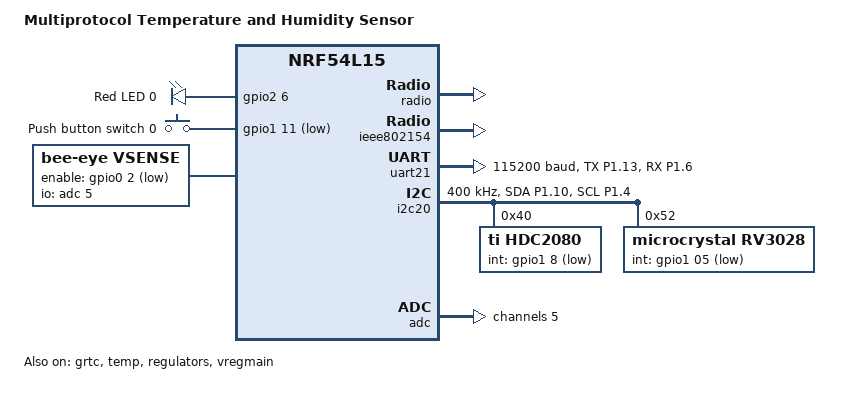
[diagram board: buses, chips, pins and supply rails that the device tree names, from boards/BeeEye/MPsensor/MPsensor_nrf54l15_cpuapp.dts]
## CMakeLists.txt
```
cmake_minimum_required(VERSION 4.2)


set(BEE_MANUFACTURER_NAME "BeeEye")
set(BEE_MODEL_ID "MPsensor")


# Generate compile_commands.json for C/C++ Extension
set(CMAKE_EXPORT_COMPILE_COMMANDS ON)

find_package(Zephyr REQUIRED HINTS $ENV{ZEPHYR_BASE})

project(microsensor)

# Version object library (no linking overhead)
add_library(version_obj OBJECT src/version.c)
target_link_libraries(version_obj PRIVATE zephyr_interface)

target_compile_definitions(version_obj PRIVATE
    BEE_MANUFACTURER_NAME="${BEE_MANUFACTURER_NAME}"
    BEE_MODEL_ID="${BEE_MODEL_ID}"
)

file(GLOB app_sources CONFIGURE_DEPENDS
    src/main.c        
    src/ble_server.c  
    src/rtc.c                
    src/deep_sleep.c  
    src/rtc_rv3028_addons.c  
    src/vsense.c    
    src/sensor_hdc2080.c     
    src/zigbee_sensor.c
)

target_sources(app PRIVATE ${app_sources})
target_link_libraries(app PRIVATE version_obj)

# Strict compile checks
target_compile_options(app PRIVATE
    -Wall
    -Wextra

    # 1) No implicit function declarations
    -Werror=implicit-function-declaration

    # 2) Non-void function must return on all paths
    -Werror=return-type
)
```

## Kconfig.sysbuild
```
source "share/sysbuild/Kconfig"

config BEE_BOOT_SKIP_SIGNATURE_VALIDATION
	bool "MCUboot: disables signature validation on boot"
	depends on BOOTLOADER_MCUBOOT
	help
	  When enabled, MCUboot is built with CONFIG_BOOT_VALIDATE_SLOT0=n.
	  This disables image signature validation on boot, reducting power drain
	  during boot. This reduces power drain when device is wakes from System OFF
	  mode, as image validation would otherwise happen on each and every wake.
```

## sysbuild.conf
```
SB_CONFIG_BOOTLOADER_MCUBOOT=y
SB_CONFIG_BOOT_SIGNATURE_TYPE_ECDSA_P256=y
SB_CONFIG_BOOT_SIGNATURE_KEY_FILE="\${APPLICATION_CONFIG_DIR}/key.pem"

# Power saving by skipping signature validation on boot (still validated on update)
SB_CONFIG_BEE_BOOT_SKIP_SIGNATURE_VALIDATION=y
```

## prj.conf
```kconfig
# Peripherals
CONFIG_GPIO=y
CONFIG_SENSOR=y
CONFIG_RTC=y
CONFIG_RTC_ALARM=y
CONFIG_I2C=y
CONFIG_ADC=y
CONFIG_ADC_NRFX_SAADC=y
CONFIG_SERIAL=y
CONFIG_UART_INTERRUPT_DRIVEN=y
CONFIG_SPI=n
CONFIG_PWM=n

# Bluetooth
CONFIG_BT=y
CONFIG_BT_HCI=y
CONFIG_BT_EXT_ADV=y
CONFIG_BT_PERIPHERAL=y
CONFIG_BT_LL_SOFTDEVICE=y

# Sytem options
CONFIG_POWEROFF=y
CONFIG_REBOOT=y
CONFIG_HWINFO=y
CONFIG_PM_DEVICE=y
CONFIG_TICKLESS_KERNEL=y
CONFIG_MINIMAL_LIBC=y
CONFIG_MINIMAL_LIBC_TIME=y
CONFIG_SYSTEM_WORKQUEUE_STACK_SIZE=2304
CONFIG_MAIN_STACK_SIZE=2176
CONFIG_HEAP_MEM_POOL_SIZE=2048
CONFIG_MAIN_THREAD_PRIORITY=7

# Logging
CONFIG_CONSOLE=y
CONFIG_UART_CONSOLE=y
CONFIG_PRINTK=y
CONFIG_LOG=y

## Configure MCU MGR for FOTA over BLE
CONFIG_BOOTLOADER_MCUBOOT=y
CONFIG_MCUMGR=y
CONFIG_MCUMGR_TRANSPORT_BT=y
CONFIG_BT_GATT_DYNAMIC_DB=y
CONFIG_MCUMGR_TRANSPORT_BT_DYNAMIC_SVC_REGISTRATION=y
CONFIG_MCUMGR_GRP_IMG=y
CONFIG_MCUMGR_GRP_OS=y
CONFIG_IMG_MANAGER=y
CONFIG_FLASH=y
CONFIG_FLASH_MAP=y
CONFIG_STREAM_FLASH=y
CONFIG_NET_BUF=y
CONFIG_ZCBOR=y
CONFIG_CRC=y
CONFIG_BT_BUF_ACL_RX_SIZE=251
CONFIG_BT_BUF_ACL_TX_SIZE=251
CONFIG_BT_L2CAP_TX_MTU=247
CONFIG_BT_CTLR_DATA_LENGTH_MAX=251

## Zigbee R23 add-on
CONFIG_ZIGBEE_ADD_ON=y
CONFIG_ZIGBEE_APP_UTILS=y
CONFIG_ZIGBEE_ROLE_END_DEVICE=y
CONFIG_ZIGBEE_CHANNEL_SELECTION_MODE_MULTI=y
CONFIG_ZIGBEE_CHANNEL_MASK=0x00000800

## Persistent storage (Zigbee NVRAM)
CONFIG_SETTINGS=y
CONFIG_FLASH=y
CONFIG_FLASH_PAGE_LAYOUT=y
CONFIG_FLASH_MAP=y
CONFIG_ZMS=y
CONFIG_BT_SETTINGS=n

## Disable IPv6 (or everything crashes)
CONFIG_NET_IPV6=n
CONFIG_NET_IP_ADDR_CHECK=n
CONFIG_NET_UDP=n
```

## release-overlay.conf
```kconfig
# Kconfig overlay for release build 
# Turns off logging
CONFIG_SERIAL=n
CONFIG_UART_ASYNC_API=n
CONFIG_UART_INTERRUPT_DRIVEN=n
CONFIG_CONSOLE=n
CONFIG_UART_CONSOLE=n
CONFIG_LOG=n
```

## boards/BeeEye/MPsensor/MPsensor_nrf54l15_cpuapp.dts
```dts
/dts-v1/;
#include <nordic/nrf54l15_cpuapp.dtsi>
#include "MPsensor-pinctrl.dtsi"
#include "partition.dtsi"

/ {
	model = "Multiprotocol Temperature and Humidity Sensor";
	compatible = "bee-eye,MPsensor-cpuapp";

	chosen {
		zephyr,console = &uart21;
		zephyr,code-partition = &slot0_partition;
		zephyr,sram = &cpuapp_sram;
		zephyr,flash = &cpuapp_rram;
		zephyr,flash-controller = &rram_controller;
	};

	leds {
		compatible = "gpio-leds";

		led0: led_0 {
			gpios = <&gpio2 6 GPIO_ACTIVE_HIGH>;
			label = "Red LED 0";
		};
	};

	buttons {
		compatible = "gpio-keys";

		button0: button_0 {
			gpios = <&gpio1 11 GPIO_ACTIVE_LOW>; // External pull-up
			label = "Push button switch 0";
			zephyr,code = <INPUT_KEY_0>;
		};
	};

	vsense: vsense {
        compatible = "bee-eye,vsense";
        enable-gpios = <&gpio0 2 GPIO_ACTIVE_LOW>;
        io-channels = <&adc 5>; /* example channel index */
        label = "VSENSE";
    };
};

&grtc {
	owned-channels = <0 1 2 3 4 5 6 7 8 9 10 11>;
	/* Channels 7-11 reserved for Zero Latency IRQs, 3-4 for FLPR */
	child-owned-channels = <3 4 7 8 9 10 11>;
	status = "okay";
};

&clock {
	status = "okay";
};

&radio {
	status = "okay";
};

&ieee802154 {
	status = "okay";
};

&temp {
	status = "okay";
};

// &gpregret1 {
// 	status = "okay";

// 	boot_mode0: boot_mode@0 {
// 		compatible = "zephyr,retention";
// 		status = "okay";
// 		reg = <0x0 0x1>;
// 	};
// };

&uart21 {
	status = "okay";
	pinctrl-0 = <&uart21_default>;
	pinctrl-1 = <&uart21_sleep>;
	pinctrl-names = "default", "sleep";
	current-speed = <115200>;
};

&hfxo {
	load-capacitors = "internal";
	load-capacitance-femtofarad = <14250>;
};

&lfxo {
	load-capacitors = "internal";
	load-capacitance-femtofarad = <7000>;
};

&cpuapp_sram {
	status = "okay";
};

&uicr {
	gpio-as-nreset;
};

&regulators {
	status = "okay";
};

&vregmain {
	status = "okay";
	regulator-initial-mode = <NRF5X_REG_MODE_DCDC>;
};

&gpio0 {
	status = "okay";
};

&gpio1 {
	sense-edge-mask = <(BIT(5) | BIT(11))>;
	status = "okay";
};

&gpio2 {
	status = "okay";
};

&gpiote20 {
	status = "okay";
};

&gpiote30 {
	status = "okay";
};

&pinctrl {
	/* I2C: i2c0 -> i2c20 */
	/omit-if-no-ref/ i2c20_default: i2c20_default {
		group1 {
			psels = <NRF_PSEL(TWIM_SDA, 1, 10)>, <NRF_PSEL(TWIM_SCL, 1, 4)>;
		};
	};

	/omit-if-no-ref/ i2c20_sleep: i2c20_sleep {
		group1 {
			psels = <NRF_PSEL(TWIM_SDA, 1, 10)>, <NRF_PSEL(TWIM_SCL, 1, 4)>;
			low-power-enable;
		};
	};

	/omit-if-no-ref/ uart21_default: uart21_default {
		group1 {
			psels = <NRF_PSEL(UART_TX, 1, 13)>, <NRF_PSEL(UART_RX, 1, 6)>;
		};
	};

	/omit-if-no-ref/ uart21_sleep: uart21_sleep {
		group1 {
			psels = <NRF_PSEL(UART_TX, 1, 13)>, <NRF_PSEL(UART_RX, 1, 6)>;
			low-power-enable;
		};
	};
};

&i2c20 {
    status = "okay";
	pinctrl-0 = <&i2c20_default>;
    pinctrl-1 = <&i2c20_sleep>;
    pinctrl-names = "default", "sleep";
    clock-frequency = <I2C_BITRATE_FAST>;

    /* HDC2080 temperature & humidity sensor */
    hdc2080: hdc2080@40 {
		status = "okay";
        compatible = "ti,hdc2080";
        reg = <0x40>;
        int-gpios = <&gpio1 8 (GPIO_PULL_UP | GPIO_ACTIVE_LOW)>;
        zephyr,deferred-init;
    };

    /* RV-3028-C7 real-time clock */
    rv3028: rv3028@52 {
		status = "okay";
        compatible = "microcrystal,rv3028";
        reg = <0x52>;
        int-gpios = <&gpio1 05 (GPIO_PULL_UP | GPIO_ACTIVE_LOW)>;
		backup-switch-mode = "disabled";
		zephyr,deferred-init;
    };
};

&adc {
    status = "okay";
	#address-cells = <1>;
    #size-cells = <0>;

    channel@5 {
        reg = <5>;                               /* channel index */
        zephyr,gain = "ADC_GAIN_1";                  /* choose what you need */
        zephyr,reference = "ADC_REF_INTERNAL";            /* 0.6V ref */
        zephyr,acquisition-time = <ADC_ACQ_TIME_DEFAULT>;
        zephyr,input-positive = <NRF_SAADC_AIN5>;
        zephyr,resolution = <14>;                 /* 14-bit recommended */
    };
};
```

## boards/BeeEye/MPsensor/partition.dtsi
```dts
&cpuapp_rram {
	partitions {
		ranges;
		#address-cells = <1>;
		#size-cells = <1>;

		boot_partition: partition@0 {
			compatible = "zephyr,mapped-partition";
			label = "mcuboot";
			reg = <0x0 DT_SIZE_K(64)>;
		};

		slot0_partition: partition@10000 {
			compatible = "zephyr,mapped-partition";
			label = "image-0";
			reg = <0x10000 DT_SIZE_K(664)>;
		};

		slot1_partition: partition@b6000 {
			compatible = "zephyr,mapped-partition";
			label = "image-1";
			reg = <0xb6000 DT_SIZE_K(664)>;
		};

		zboss_nvram: partition@15c000 {
			compatible = "zephyr,mapped-partition";
			label = "zboss-nvram";
			reg = <0x15c000 DT_SIZE_K(32)>;
		};

		zboss_product_config: partition@164000 {
			compatible = "zephyr,mapped-partition";
			label = "zboss-product-config";
			reg = <0x164000 DT_SIZE_K(4)>;
		};

		storage_partition: partition@165000 {
			compatible = "zephyr,mapped-partition";
			label = "storage";
			reg = <0x165000 DT_SIZE_K(36)>;
		};
	};
};
```

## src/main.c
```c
#include "ble_server.h"
#include "rtc.h"
#include "vsense.h"
#include "deep_sleep.h"
#include "sensor_hdc2080.h"
#include "zigbee_sensor.h"

#include <zephyr/kernel.h>
#include <zephyr/logging/log.h>
#include <zephyr/drivers/gpio.h>
#include <zephyr/device.h>
#include <zephyr/devicetree.h>
#include <zephyr/pm/pm.h>
#include <zephyr/sys/reboot.h>
#include <zephyr/drivers/hwinfo.h>
#include <zephyr/dfu/mcuboot.h>
#include <zephyr/settings/settings.h>
#include <zephyr/mgmt/mcumgr/transport/smp_bt.h>

LOG_MODULE_REGISTER(app_main, LOG_LEVEL_DBG);

static const struct gpio_dt_spec pair_button = GPIO_DT_SPEC_GET(DT_NODELABEL(button0), gpios);
static const struct gpio_dt_spec led = GPIO_DT_SPEC_GET(DT_NODELABEL(led0), gpios);

static bool pair_button_is_pressed(void);
static int blink(int count, int duration);
static int megablink(int countA, int countB, int spacing);
static int confirm_image_once(void);
static void blink_and_restart(int ser_num);
static bool get_is_low_power_wake(void);
static int initialize_peripherals(bool fast);
static int configure_button0_as_reset(void);
static int user_menu(void);
static int save_device_mode(void);

int device_mode = 1;

void main(void)
{
    int ret = 0;
    const bool is_lp_wake = get_is_low_power_wake();

    ret = initialize_peripherals(is_lp_wake);
    if (ret) {
        blink_and_restart(3);
        return;
    }

    confirm_image_once();    

    k_msleep(300);
    if(pair_button_is_pressed()) {
        user_menu();
    }
    
    if (device_mode == 0) {
        LOG_INF("Device is in BLE mode");
        bool pairing_mode = !is_lp_wake || pair_button_is_pressed();
        if(btadv(pairing_mode)) {
            blink_and_restart(4);
            return;
        }

        ret = enter_deep_sleep();
        if(ret) {
            blink_and_restart(5);
        }
    } else {
        LOG_INF("Device is in ZigBee mode");
        ret = configure_button0_as_reset();
        if(ret) {
            blink_and_restart(6);
        }
        ret = zigbee_sensor_start();
        if(ret) {
            blink_and_restart(7);
        }
    }

    return;
}

static bool pair_button_is_pressed(void)
{
    int v = gpio_pin_get_dt(&pair_button);
    return v > 0;   /* logical active level */
}

static int blink(int count, int duration) {
    #ifndef NOBLINK
    if (!device_is_ready(led.port)) return -ENODEV;

    gpio_pin_configure_dt(&led, GPIO_OUTPUT_INACTIVE);
    for(int i=0;i<count;++i) {
        gpio_pin_configure_dt(&led, GPIO_OUTPUT_ACTIVE);
        k_msleep(duration);
        gpio_pin_configure_dt(&led, GPIO_OUTPUT_INACTIVE);
        k_msleep(duration);
    }
    #endif
    
    return 0;
}

static int megablink(int countA, int countB, int spacing) {
    #ifndef NOBLINK
    for(int i=0;i<countB;++i) {
        blink(countA, 200);
        k_msleep(spacing);
    }
    #endif
    return 0;
}

static int confirm_image_once(void)
{
    int rc;

    if (boot_is_img_confirmed()) {
        return 0;
    }

    rc = boot_write_img_confirmed();
    if (rc) {
        return rc;
    }

    return 0;
}

static void blink_and_restart(int ser_num) {
    megablink(ser_num, 3, 300);
    k_msleep(5000);
    sys_reboot(SYS_REBOOT_COLD);
    while(1) {
        k_sleep(K_FOREVER);
    }
}

static bool get_is_low_power_wake(void) {
    uint32_t reset_cause = 0;
    int ret = hwinfo_get_reset_cause(&reset_cause);
    if (ret == 0) {
        hwinfo_clear_reset_cause();
    }

    return reset_cause & RESET_LOW_POWER_WAKE;
}

static int initialize_peripherals(bool fast) {
    int ret = 0;

    settings_subsys_init();
    settings_load();

    if (fast) {
        rtc_enable_minimal_init();
    }
    
    ret = rtc_init(!fast);
    if (ret) {
        LOG_ERR("RTC init failed: %d", ret);
    }

    ret = hdc2080_init();
    if (ret) {
        LOG_ERR("HDC2080 init failed: %d", ret);
    }

	if (!gpio_is_ready_dt(&pair_button)) {
		LOG_ERR("button0 GPIO not ready");
		return -ENODEV;
	}

	ret = gpio_pin_configure_dt(&pair_button, GPIO_INPUT);
	if (ret) {
		LOG_ERR("button0 configure failed (%d)", ret);
		return ret;
	}

    if (!fast) {
        LOG_INF("Normal boot");
        blink(1, 200);  // indicator that thing is working

        ret = enable_rtc_pit(SENSOR_TRANSMIT_PERIOD);
        if(ret) {
            LOG_ERR("RTC PIT init failed");
            return ret;
        }        
    } else {
        LOG_INF("Fast boot (wake from System off)");
    }

    if (fast) {
        if (IS_ENABLED(CONFIG_MCUMGR_TRANSPORT_BT_DYNAMIC_SVC_REGISTRATION)) {
            LOG_INF("Disabling GATT SMP (DFU)");
            ret = smp_bt_unregister();
            if (ret) {
                LOG_ERR("smp_bt_unregister() failed: %d", ret);
            }
        }
    }

    return 0;
}

static struct gpio_callback button0_cb;
static void button0_reset_callback(const struct device *dev, struct gpio_callback *cb, uint32_t pins)
{
	ARG_UNUSED(dev);
	ARG_UNUSED(cb);
	ARG_UNUSED(pins);
	sys_reboot(SYS_REBOOT_COLD);
}

static int configure_button0_as_reset(void)
{
	int rc;

	if (!gpio_is_ready_dt(&pair_button)) {
		LOG_ERR("button0 GPIO not ready");
		return -ENODEV;
	}

	rc = gpio_pin_configure_dt(&pair_button, GPIO_INPUT);
	if (rc) {
		LOG_ERR("button0 configure failed (%d)", rc);
		return rc;
	}

	rc = gpio_pin_interrupt_configure_dt(&pair_button, GPIO_INT_EDGE_TO_ACTIVE);
	if (rc) {
		LOG_ERR("button0 interrupt configure failed (%d)", rc);
		return rc;
	}

	gpio_init_callback(&button0_cb, button0_reset_callback, BIT(pair_button.pin));
	gpio_add_callback(pair_button.port, &button0_cb);

    return 0;
}

static int user_menu(void)
{
    LOG_INF("Entering mode select...");
    int64_t start;

    /* --- Initial 5s wait --- */
    start = k_uptime_get();
    while (k_uptime_get() - start < 5000) {
        if (!pair_button_is_pressed()) {
            LOG_INF("Entering mode select aborted");
            return 0;
        }
        k_msleep(50);
    }

    while (pair_button_is_pressed()) {
        blink(1, 50);
        k_msleep(50);
    }

    LOG_INF("Entered mode select.");

    /* --- Menu loop --- */
    start = k_uptime_get();
    while (1) {

        /* Indicate current mode */
        if (device_mode == 0) {
            megablink(1, 1, 100); /* BLE */
        } else {
            megablink(2, 1, 100); /* ZigBee */
        }

        /* Short window to catch button press */
        int64_t poll_start = k_uptime_get();
        while (k_uptime_get() - poll_start < 200) {
            if (pair_button_is_pressed()) {
                device_mode = !device_mode;   /* toggle */
                save_device_mode();
                start = k_uptime_get();       /* reset inactivity timer */

                /* debounce: wait release */
                while (pair_button_is_pressed()) {
                    k_msleep(20);
                }
                break;
            }
            k_msleep(20);
        }

        /* Exit after 5s inactivity */
        if (k_uptime_get() - start >= 5000) {
            blink(1, 1000);
            return 0;
        }
    }
}

static int settings_set(const char *name, size_t len_rd,
                        settings_read_cb read_cb, void *cb_arg)
{
    if (strcmp(name, "mode") == 0) {
        if (len_rd != sizeof(device_mode)) {
            return -EINVAL;
        }
        int rc = read_cb(cb_arg, &device_mode, sizeof(device_mode));
        return (rc >= 0) ? 0 : rc;
    }

    return -ENOENT;
}

SETTINGS_STATIC_HANDLER_DEFINE(device, "device", NULL, settings_set, NULL, NULL);

static int save_device_mode(void)
{
    LOG_INF("Saving device mode = %d", device_mode);
    return settings_save_one("device/mode", &device_mode, sizeof(device_mode));
}
```

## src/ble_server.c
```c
#include "ble_server.h"
#include "sensor_hdc2080.h"
#include "rtc.h"
#include "vsense.h"
#include "protocol.h"

#include <zephyr/kernel.h>
#include <zephyr/logging/log.h>
#include <zephyr/sys/byteorder.h>
#include <zephyr/bluetooth/bluetooth.h>
#include <zephyr/bluetooth/hci.h>
#include <zephyr/bluetooth/hci_vs.h>
#include <zephyr/bluetooth/gatt.h>
#include <zephyr/sys/byteorder.h>
#include <zephyr/sys/crc.h>

LOG_MODULE_REGISTER(app_ble_server, LOG_LEVEL_DBG);

// int adv_set_tx_power(struct bt_le_ext_adv *adv, int8_t dbm)
// {
//     struct net_buf *buf, *rsp = NULL;
//     struct bt_hci_cp_vs_write_tx_power_level *cp;
//     int err;

//     uint16_t handle = bt_le_ext_adv_get_index(adv); // adv handle (per set)

//     buf = bt_hci_cmd_create(BT_HCI_OP_VS_WRITE_TX_POWER_LEVEL, sizeof(*cp));
//     if (!buf) return -ENOBUFS;

//     cp = net_buf_add(buf, sizeof(*cp));
//     cp->handle_type   = BT_HCI_VS_LL_HANDLE_TYPE_ADV;
//     cp->handle        = sys_cpu_to_le16(handle);
//     cp->tx_power_level = dbm;     // e.g. 0, -4, -8 ... (SDC rounds to supported)

//     err = bt_hci_cmd_send_sync(BT_HCI_OP_VS_WRITE_TX_POWER_LEVEL, buf, &rsp);
//     if (rsp) net_buf_unref(rsp);
//     return err;
// }


static K_SEM_DEFINE(adv_done, 0, 1);

static void adv_sent(struct bt_le_ext_adv *adv,
                     struct bt_le_ext_adv_sent_info *info)
{
    ARG_UNUSED(adv);
    ARG_UNUSED(info);
    k_sem_give(&adv_done);
}

static void adv_connected(struct bt_le_ext_adv *adv,
			  struct bt_le_ext_adv_connected_info *info) {
    ARG_UNUSED(adv);
    ARG_UNUSED(info);
    LOG_DBG("BLE connection");
}

static const struct bt_le_ext_adv_cb adv_cb = {
    .sent = adv_sent,
    .connected = adv_connected
};

struct bt_le_adv_param adv_param_normal = {
    .id = BT_ID_DEFAULT,
    .sid = 0,
    .secondary_max_skip = 0,
    .interval_min = BT_GAP_ADV_FAST_INT_MIN_2,
    .interval_max = BT_GAP_ADV_FAST_INT_MAX_2,
    .options = BT_LE_ADV_OPT_USE_IDENTITY | BT_LE_ADV_OPT_EXT_ADV 
};

struct bt_le_adv_param adv_param_pair = {
    .id = BT_ID_DEFAULT,
    .sid = 0,
    .secondary_max_skip = 0,
    .interval_min = BT_GAP_ADV_FAST_INT_MIN_2,
    .interval_max = BT_GAP_ADV_FAST_INT_MAX_2,
    .options = BT_LE_ADV_OPT_USE_IDENTITY | BT_LE_ADV_OPT_EXT_ADV | BT_LE_ADV_OPT_CONN
};

/* Characteristic storage */
static int16_t g_temperature = 0;
static int16_t g_humidity = 0;

/* Read callbacks */
static ssize_t read_temperature(struct bt_conn *conn, const struct bt_gatt_attr *attr, void *buf, uint16_t len, uint16_t offset)
{
    return bt_gatt_attr_read(conn, attr, buf, len, offset, &g_temperature, sizeof(g_temperature));
}

static ssize_t read_humidity(struct bt_conn *conn, const struct bt_gatt_attr *attr, void *buf, uint16_t len, uint16_t offset)
{
    return bt_gatt_attr_read(conn, attr, buf, len, offset, &g_humidity, sizeof(g_humidity));
}

static ssize_t read_timestamp(struct bt_conn *conn, const struct bt_gatt_attr *attr, void *buf, uint16_t len, uint16_t offset)
{
    uint32_t ts = 0;
    get_rtc_unix_time(&ts);
    return bt_gatt_attr_read(conn, attr, buf, len, offset, &ts, sizeof(ts));
}

static ssize_t read_currenttime(struct bt_conn *conn, const struct bt_gatt_attr *attr, void *buf, uint16_t len, uint16_t offset)
{
    struct cts_current_time cts;
    memset(&cts, 0, sizeof(cts));
    get_rtc_cts_time(&cts);
    return bt_gatt_attr_read(conn, attr, buf, len, offset, &cts, sizeof(cts));
}


/* Write callbacks */
static ssize_t write_timestamp(struct bt_conn *conn,
                        const struct bt_gatt_attr *attr,
                        const void *buf, uint16_t len, uint16_t offset, uint8_t flags)
{
    ARG_UNUSED(conn);
    ARG_UNUSED(attr);
    ARG_UNUSED(flags);

    if (offset != 0 || len != sizeof(uint32_t)) {
        return BT_GATT_ERR(BT_ATT_ERR_INVALID_ATTRIBUTE_LEN);
    }

    uint32_t timestamp = sys_get_le32(buf);
    LOG_DBG("Writing timestamp: %u", timestamp);
    set_rtc_unix_time(timestamp);

    return len;
}

static ssize_t write_currenttime(struct bt_conn *conn,
                        const struct bt_gatt_attr *attr,
                        const void *buf, uint16_t len, uint16_t offset, uint8_t flags)
{
    ARG_UNUSED(conn);
    ARG_UNUSED(attr);
    ARG_UNUSED(flags);

    if (offset != 0 || len != sizeof(struct cts_current_time)) {
        return BT_GATT_ERR(BT_ATT_ERR_INVALID_ATTRIBUTE_LEN);
    }

    const struct cts_current_time *time = buf;
    LOG_DBG("Writing current time: %04u-%02u-%02u %02u:%02u:%02u",
            sys_le16_to_cpu(time->year),
            time->month,
            time->day,
            time->hours,
            time->minutes,
            time->seconds);
    set_rtc_cts_time(time);

    return len;
}

/* UUIDs */
#define BT_UUID_MY_SERVICE_VAL 0x12,0x34,0x00,0x01,0x00,0x00,0x10,0x00,0x80,0x00,0x00,0x80,0x5F,0x9B,0x34,0xFB
#define BT_UUID_MY_SERVICE       BT_UUID_DECLARE_128(BT_UUID_MY_SERVICE_VAL)
#define BT_UUID_TEMP_CHAR        BT_UUID_DECLARE_128(0x12,0x34,0x00,0x02,0x00,0x00,0x10,0x00,0x80,0x00,0x00,0x80,0x5F,0x9B,0x34,0xFB)
#define BT_UUID_HUMID_CHAR       BT_UUID_DECLARE_128(0x12,0x34,0x00,0x03,0x00,0x00,0x10,0x00,0x80,0x00,0x00,0x80,0x5F,0x9B,0x34,0xFB)
#define BT_UUID_TIME_CHAR        BT_UUID_DECLARE_128(0x12,0x34,0x00,0x04,0x00,0x00,0x10,0x00,0x80,0x00,0x00,0x80,0x5F,0x9B,0x34,0xFB)

/* Service declaration */
BT_GATT_SERVICE_DEFINE(sensor_service,
    BT_GATT_PRIMARY_SERVICE(BT_UUID_MY_SERVICE),

    BT_GATT_CHARACTERISTIC(BT_UUID_TEMP_CHAR,
                           BT_GATT_CHRC_READ,
                           BT_GATT_PERM_READ,
                           read_temperature, NULL, NULL),

    BT_GATT_CHARACTERISTIC(BT_UUID_HUMID_CHAR,
                           BT_GATT_CHRC_READ,
                           BT_GATT_PERM_READ,
                           read_humidity, NULL, NULL),

    BT_GATT_CHARACTERISTIC(BT_UUID_TIME_CHAR,
                           BT_GATT_CHRC_READ | BT_GATT_CHRC_WRITE,
                           BT_GATT_PERM_READ | BT_GATT_PERM_WRITE,
                           read_timestamp, write_timestamp, NULL)
);

BT_GATT_SERVICE_DEFINE(time_service,
    BT_GATT_PRIMARY_SERVICE(BT_UUID_CTS),

    BT_GATT_CHARACTERISTIC(BT_UUID_CTS_CURRENT_TIME,
                           BT_GATT_CHRC_READ | BT_GATT_CHRC_WRITE,
                           BT_GATT_PERM_READ | BT_GATT_PERM_WRITE,
                           read_currenttime, write_currenttime, NULL)
);

struct __attribute__((packed)) ManufacturerData manufacturerData;

static uint16_t next_transmission_offset = 0;
static char name[32];

int capture_timer_offset(void) {
    uint16_t timer = 0;
    int err = get_rtc_pit_timer_status(&timer);
    if(err) {
        LOG_ERR("Failed to get RTC time status: %d", err);
        return err;
    }
    next_transmission_offset = 60*64 - timer; // TODO: fix hardcoded interval (take current period)

    LOG_INF("capture_timer_offset %"PRIu16" (%"PRId32")", 
        next_transmission_offset, (int32_t)next_transmission_offset * 1000 / 64);
    return 0;
}

int set_adv_data(struct bt_le_ext_adv *adv) {
    int err = 0;
    int16_t temp = 0;
    int16_t hum = 0;
    uint16_t mv = 0;
    // Build manufacturer data
    if(manufacturerData.magic == 0) {
        manufacturerData.magic = BEE_EYE_MAGIC;
        manufacturerData.flags = BEE_EYE_METRIC_TEMPHUM | BEE_EYE_TIMER_64HZ | BEE_EYE_BATTERY_3V3;
        err = hdc2080_get_temp_humidity_x256(&temp, &hum);
        if(err) {
            LOG_ERR("Couldn't read sensor: %d", err);
            return err;
        } else {
            manufacturerData.temp = temp;
            manufacturerData.hum = hum;
        }

        err = vsense_measure_mv(&mv);
        if(err) {
            LOG_ERR("Couldn't get battery voltage %d", err);
        } else {
            manufacturerData.batteryMilliVolt = mv;
        }
    }

    uint16_t timer_status = 0;
    if(get_rtc_pit_timer_status(&timer_status)) {
        LOG_ERR("Failed to get RTC time status");
    }
    manufacturerData.nextTransmission = timer_status + next_transmission_offset;

    manufacturerData.crc = crc8((const char*)&manufacturerData, 
        sizeof(struct ManufacturerData) - sizeof(manufacturerData.crc), 
        0x7, 0x0, false);

    const struct bt_data ad[] = {
        BT_DATA_BYTES(BT_DATA_FLAGS, (BT_LE_AD_GENERAL | BT_LE_AD_NO_BREDR)),
        BT_DATA(BT_DATA_NAME_COMPLETE, name, strlen(name)),
        BT_DATA(BT_DATA_MANUFACTURER_DATA, &manufacturerData, sizeof(manufacturerData)),
        BT_DATA_BYTES(BT_DATA_UUID128_ALL, BT_UUID_MY_SERVICE_VAL)
    };

    err = bt_le_ext_adv_set_data(adv, ad, ARRAY_SIZE(ad), NULL, 0);
    if (err) {
        LOG_ERR("Couldn't set adv data: %d", err);
        return err;
    }
    return 0;
}

static void count_conn_cb(struct bt_conn *conn, void *user_data)
{
    int *count = user_data;

    struct bt_conn_info info;
    if (bt_conn_get_info(conn, &info) != 0) {
        return;
    }

    if (info.type == BT_CONN_TYPE_LE) {
        (*count)++;
    }
}

static int le_conn_count(void)
{
    int count = 0;

    bt_conn_foreach(BT_CONN_TYPE_LE, count_conn_cb, &count);
    return count;
}

int btadv(bool pairing) {
    int err;
    uint8_t addr[6];
    bt_addr_le_t id;
    size_t count = 1;
    struct bt_le_ext_adv *adv = NULL;

    err = bt_enable(NULL);
    if (err) {
        LOG_ERR("Couldn't enable BT: %d", err);
        return err;
    }

    // Get default identity and append last 3 bytes to name
    bt_id_get(&id, &count);
    sys_memcpy_swap(addr, id.a.val, 6);  /* reverse for human-readable */
    snprintk(name, sizeof(name), "BeeEye_%02X%02X%02X", addr[3], addr[4], addr[5]);
    LOG_INF("Announcing as %s", name);

    // Create adv set
    // const struct bt_le_adv_param *adv_param = pairing ? &adv_param_pair : &adv_param_normal;
	err = bt_le_ext_adv_create(&adv_param_pair, &adv_cb, &adv);
	if (err) {
        LOG_ERR("Couldn't create adv: %d", err);
		return err;
	}

    memset(&manufacturerData, 0, sizeof(manufacturerData));
    err = set_adv_data(adv);
    if (err) {
        LOG_ERR("Couldn't set manufacturer data: %d", err);
        return err;
    }

    // Normal adv mode: advertise 4 times
    // "Pairing" adv mode: advertise for 30 seconds
    const struct bt_le_ext_adv_start_param adv_start_normal = BT_LE_EXT_ADV_START_PARAM_INIT(0,4);
    const struct bt_le_ext_adv_start_param adv_start_pairing = BT_LE_EXT_ADV_START_PARAM_INIT(3000,0);
    const struct bt_le_ext_adv_start_param *adv_start = pairing ? &adv_start_pairing : &adv_start_normal;
    LOG_DBG("adv start param = {timeout=%dms, num=%d}", adv_start->timeout * 10, adv_start->num_events);
    err = bt_le_ext_adv_start(adv, adv_start);
    if(err) {
        LOG_ERR("Failed to start announce: %d", err);
        return err;
    }

    if(adv_start->num_events != 0) {
        // adv_sent() releases the semaphore
        // k_sem_take(&adv_done, K_FOREVER);
        while(k_sem_take(&adv_done, K_NO_WAIT) == -EBUSY) {
            err = set_adv_data(adv);
            if (err) {
                LOG_ERR("Couldn't set manufacturer data: %d", err);
                return err;
            }
            k_msleep(100);
        }
    } else if(adv_start->timeout != 0) {
        // k_msleep(adv_start->timeout * 10);
        const uint64_t until = k_uptime_get() + adv_start->timeout * 10;
        while(1) {
            err = set_adv_data(adv);
            if (err) {
                LOG_ERR("Couldn't set manufacturer data: %d", err);
                return err;
            }
            const uint64_t now = k_uptime_get();
            if(now >= until) {
                break;
            }
            k_msleep(100);
        }
    }

    err = bt_le_ext_adv_stop(adv);
    if (err && err != -EALREADY) {
        LOG_WRN("bt_le_ext_adv_stop failed: %d", err);        
    }

    while (pairing && le_conn_count() > 0) {
        LOG_DBG("Waiting for BLE connection(s) to close...");
        k_msleep(200);
    }

    err = bt_disable();
    if(err) {
        LOG_ERR("Failed to disable BT: %d", err);
        return err;
    }

    return 0;
}
```

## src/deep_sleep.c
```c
#include "deep_sleep.h"

#include <zephyr/device.h>
#include <zephyr/devicetree.h>
#include <zephyr/drivers/gpio.h>
#include <zephyr/logging/log.h>
#include <zephyr/logging/log_ctrl.h>
#include <zephyr/sys/poweroff.h>
#include <zephyr/kernel.h>

LOG_MODULE_REGISTER(app_dsleep, LOG_LEVEL_DBG);


static const struct gpio_dt_spec btn = GPIO_DT_SPEC_GET(DT_NODELABEL(button0), gpios);
static const struct gpio_dt_spec int_gpio = GPIO_DT_SPEC_GET(DT_NODELABEL(rv3028), int_gpios);

int enter_deep_sleep(void) {
    if (!device_is_ready(int_gpio.port)) {
        LOG_ERR("RTC INT GPIO is not ready");
        return -ENODEV;
    }

    if (!device_is_ready(btn.port)) {
        LOG_ERR("BUTTON GPIO is not ready");
        return -ENODEV;
    }

    // Configure RTC INT wake source
    gpio_pin_configure_dt(&int_gpio, GPIO_INPUT);
    gpio_pin_interrupt_configure_dt(&int_gpio, GPIO_INT_EDGE_TO_ACTIVE);

    // Configure button wake source
    gpio_pin_configure_dt(&btn, GPIO_INPUT);
    gpio_pin_interrupt_configure_dt(&btn, GPIO_INT_EDGE_TO_ACTIVE);

    // Deep Sleep (System OFF)
    LOG_INF("Entering deep sleep (System OFF)");
    if (IS_ENABLED(CONFIG_LOG)) {
        log_panic();
    }
    sys_poweroff();

    while (1) {
        k_sleep(K_FOREVER);
    }

    return 0;
}
```

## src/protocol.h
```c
#pragma once
#include <stdint.h>

#define BEE_EYE_MAGIC 0xBEEF

#define BEE_EYE_TIMER_RESOLUTION_MASK 0xC0
#define BEE_EYE_TIMER_1000HZ 0
#define BEE_EYE_TIMER_100HZ 0x40
#define BEE_EYE_TIMER_64HZ 0x80
#define BEE_EYE_TIMER_1HZ 0xC0

#define BEE_EYE_BATTERY_MASK 0x30
#define BEE_EYE_BATTERY_3V3 0
#define BEE_EYE_BATTERY_4V5 0x10
#define BEE_EYE_BATTERY_6V 0x20
#define BEE_EYE_BATTERY_RESERVED 0x30

#define BEE_EYE_METRIC_TYPE_MASK 0x0F
#define BEE_EYE_METRIC_TEMPHUM 0
#define BEE_EYE_METRIC_WEIGHT 1

struct __attribute__((packed)) ManufacturerData {
    uint16_t            magic;              // must be 0xBEEF
    uint8_t             flags;              // bits 0-3: metric type, bits 4-5: battery type, bits 6-7: next transmission timer resolution
    int16_t             temp;
    int16_t             hum;
    uint16_t            nextTransmission;    // delay until next transmission
    uint16_t            batteryMilliVolt;   // battery voltage
    uint8_t             crc;
};

_Static_assert(sizeof(struct ManufacturerData) <= 29, "Manufacturer Data is too large");
```

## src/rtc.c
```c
#include "rtc.h"
#include "rtc_rv3028_addons.h"

#include <zephyr/device.h>
#include <zephyr/devicetree.h>
#include <zephyr/logging/log.h>
#include <zephyr/drivers/rtc.h>
#include <zephyr/drivers/gpio.h>
#include <zephyr/drivers/i2c.h>
#include <zephyr/pm/pm.h>
#include <zephyr/pm/state.h>
#include <zephyr/sys/timeutil.h>
#include <zephyr/sys/byteorder.h>
#include <zephyr/sys/poweroff.h>
#include <zephyr/kernel.h>
#include <zephyr/sys/printk.h>
#include <hal/nrf_gpio.h>
#include <stdint.h>


LOG_MODULE_REGISTER(app_rtc, LOG_LEVEL_DBG);

int blink(int count, int duration);
int megablink(int countA, int countB, int spacing);

#define RV3028_NODE    DT_NODELABEL(rv3028)
static const struct device *rtc = DEVICE_DT_GET(RV3028_NODE);
static bool use_minimal_init = false;
void rtc_enable_minimal_init(void) {
    use_minimal_init = true;
}

bool ensure_rtc(void) {
    int ret = 0;

    if (use_minimal_init) {
        if (rtc->state->initialized) {
            ret = -EALREADY;
        } else {
            ret = rv3028_init_minimal(rtc);
            rtc->state->init_res = ret;
            if (ret == 0) {
                rtc->state->initialized = true;
            }
        }
    } else {
        ret = device_init(rtc);
    }

    if(ret && ret != -EALREADY) {
        LOG_ERR("RTC init failed: %d", ret);
        return false;
    }

    return device_is_ready(rtc);
}

int rtc_init(bool setTime) {
    if (!ensure_rtc()) {
        LOG_ERR("RTC is not ready");
        return -ENODEV;
    }

    int err = rv3028_clear_tf(rtc);
    if(err) {
        LOG_WRN("Failed to clear TF bit: %d", err);
        return -EIO;
    }

    struct rtc_time tm;
    err = rtc_get_time(rtc, &tm);

    if (err == -ENODATA || setTime) {
        LOG_INF("setting RTC time");
        /* RTC has invalid time (probably power loss). Set default. */
        struct rtc_time init = {
            .tm_year = 2025 - 1900,  /* years since 1900 */
            .tm_mon  = 0,             /* January = 0 */
            .tm_mday = 1,
            .tm_hour = 0,
            .tm_min  = 0,
            .tm_sec  = 0,
        };

        err = rtc_set_time(rtc, &init);
        if (err) {
            LOG_ERR("Failed to set RTC time: %d", err);
            return err;
        }
    } else if (err) {
        LOG_ERR("Failed to get RTC time: %d", err);
        return err;
    }

    return 0;
}

int get_rtc_unix_time(uint32_t* unix_timestamp) {
    if (!ensure_rtc()) {
        LOG_ERR("RTC is not ready");
        return -ENODEV;
    }

    if (unix_timestamp) {
        char buf[sizeof(struct rtc_time)]; // anti-aliasing
        int err = rtc_get_time(rtc, (struct rtc_time*)buf);
        if (err) {
            LOG_ERR("Failed to get RTC time: %d", err);
            return err;
        }
        *unix_timestamp = timeutil_timegm64((struct tm*)buf);
    }

    return 0;
}

BUILD_ASSERT(sizeof(struct rtc_time) >= sizeof(struct tm),
             "struct rtc_time must be at least as large as struct tm");

int set_rtc_unix_time(uint32_t unix_timestamp) {
    if (!ensure_rtc()) {
        LOG_ERR("RTC is not ready");
        return -ENODEV;
    }

    char buf[sizeof(struct rtc_time)];
    memset(buf, 0, sizeof(buf));

    struct tm *tm_ptr = (struct tm *)buf;
    struct rtc_time *rtc_ptr = (struct rtc_time *)buf;

    time_t ts = unix_timestamp;
    if (gmtime_r(&ts, tm_ptr) == NULL) {
        return -EINVAL;
    }

    return rtc_set_time(rtc, rtc_ptr);
}

int print_rtc_time(void) {
    if (!device_is_ready(rtc)) {
        return -ENODEV;
    }

    struct rtc_time tm;
    int err = rtc_get_time(rtc, &tm);
    if (err) {
        LOG_ERR("Failed to get RTC time: %d", err);
        return err;
    }
    LOG_INF("RTC: %04d-%02d-%02d %02d:%02d:%02d", 
        tm.tm_year + 1900,
        tm.tm_mon + 1,
        tm.tm_mday,
        tm.tm_hour,
        tm.tm_min,
        tm.tm_sec
    );

    return 0;
}


int get_rtc_cts_time(struct cts_current_time *cts)
{
    if (!ensure_rtc()) {
        LOG_ERR("RTC is not ready");
        return -ENODEV;
    }

    struct rtc_time rt;
    int err = rtc_get_time(rtc, &rt);
    if (err)
        return err;

    /* Convert Zephyr rtc_time → CTS (LE) */
    uint16_t year_le = sys_cpu_to_le16((uint16_t)(rt.tm_year + 1900));
    memcpy(&cts->year, &year_le, sizeof(year_le));

    cts->month  = (uint8_t)(rt.tm_mon + 1);             /* 0–11 → 1–12 */
    cts->day    = (uint8_t)rt.tm_mday;
    cts->hours  = (uint8_t)rt.tm_hour;
    cts->minutes = (uint8_t)rt.tm_min;
    cts->seconds = (uint8_t)rt.tm_sec;

    /* 0=Sun…6=Sat → CTS 1=Mon…7=Sun */
    cts->day_of_week = (rt.tm_wday == 0) ? 7 : rt.tm_wday;

    cts->fractions256 = 0;
    cts->adjust_reason = 0;

    return 0;
}

int set_rtc_cts_time(const struct cts_current_time *cts)
{
    if (!ensure_rtc()) {
        LOG_ERR("RTC is not ready");
        return -ENODEV;
    }

    struct rtc_time rt;
    memset(&rt, 0, sizeof(rt));

    /* Convert CTS (LE) → rtc_time (host) */
    uint16_t year_host = sys_le16_to_cpu(cts->year);
    rt.tm_year = (int)year_host - 1900;
    rt.tm_mon  = (int)cts->month - 1;                  /* 1–12 → 0–11 */

    rt.tm_mday = (int)cts->day;
    rt.tm_hour = (int)cts->hours;
    rt.tm_min  = (int)cts->minutes;
    rt.tm_sec  = (int)cts->seconds;

    /* CTS 1=Mon…7=Sun → 0=Sun…6=Sat */
    rt.tm_wday = (cts->day_of_week == 7) ? 0 : cts->day_of_week;

    return rtc_set_time(rtc, &rt);
}

int enable_rtc_pit(uint16_t period_seconds) {
    int err;

    if (period_seconds > 60) {
        return -EINVAL;
    }

    if (!ensure_rtc()) {
        LOG_ERR("RTC is not ready");
        return -ENODEV;
    }

    if (!device_is_ready(rtc)) {
        LOG_ERR("RTC is not ready");
        return -ENODEV;
    }

    err = rv3028_enable_periodic_interrupt(rtc, RV3028_TIMER_FREQ_64HZ, period_seconds * 64);
    if (err) {
        LOG_ERR("Failed to enable RTC PIT: %d", err);
        return err;
    }

    return 0;
}

int get_rtc_pit_timer_status(uint16_t *timer_status) {
    int err;
    if (!ensure_rtc()) {
        LOG_ERR("RTC is not ready");
        return -ENODEV;
    }

    err = rv3028_get_timer_status(rtc, timer_status);
    if (err) {
        LOG_ERR("Failed to get RTC PIT timer status");
        return err;
    }

    return 0;
}
```

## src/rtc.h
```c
#pragma once
#include <stdbool.h>
#include <stdint.h>

struct device;

struct __attribute__((packed)) cts_current_time {
    uint16_t year;         /* little-endian */
    uint8_t  month;        /* 1–12 */
    uint8_t  day;          /* 1–31 */
    uint8_t  hours;        /* 0–23 */
    uint8_t  minutes;      /* 0–59 */
    uint8_t  seconds;      /* 0–59 */
    uint8_t  day_of_week;  /* 1 = Monday … 7 = Sunday */
    uint8_t  fractions256; /* 1/256th of a second */
    uint8_t  adjust_reason;/* bitfield */
};

void rtc_enable_minimal_init(void);
int rtc_init(bool setTime);
int get_rtc_unix_time(uint32_t* unix_timestamp);
int set_rtc_unix_time(uint32_t unix_timestamp);
int print_rtc_time(void);
int get_rtc_cts_time(struct cts_current_time* unix_timestamp);
int set_rtc_cts_time(const struct cts_current_time* unix_timestamp);
int enable_rtc_pit(uint16_t period_seconds);
int get_rtc_pit_timer_status(uint16_t *timer_status);
```

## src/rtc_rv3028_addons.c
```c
#include <zephyr/device.h>
#include <zephyr/kernel.h>
#include <zephyr/drivers/i2c.h>
#include <zephyr/drivers/gpio.h>
#include <zephyr/logging/log.h>

LOG_MODULE_REGISTER(rv3028_timer_addon, LOG_LEVEL_DBG);

/*
    IMPORTANT

    Code below depends internal workings of RV3028 driver (drivers/rtc/rtc_v3028.c):
        - to access semaphore 
        - to access relevant i2c device

    If something stops working, check if RV3028 driver changed
*/

#define DT_DRV_COMPAT microcrystal_rv3028
#if DT_ANY_INST_HAS_PROP_STATUS_OKAY(int_gpios) &&                                                 \
	(defined(CONFIG_RTC_ALARM) || defined(CONFIG_RTC_UPDATE))
#define RV3028_INT_GPIOS_IN_USE 1
#endif


struct rv3028_config {
	const struct i2c_dt_spec i2c;
#ifdef RV3028_INT_GPIOS_IN_USE
	struct gpio_dt_spec gpio_int;
#endif /* RV3028_INT_GPIOS_IN_USE */
};

struct rv3028_data {
	struct k_sem lock;
};


static void rv3028_lock_sem(const struct device *dev)
{
	struct rv3028_data *data = dev->data;

	(void)k_sem_take(&data->lock, K_FOREVER);
}

static void rv3028_unlock_sem(const struct device *dev)
{
	struct rv3028_data *data = dev->data;

	k_sem_give(&data->lock);
}

#define RV3028_REG_ID                   0x28
#define RV3028_REG_STATUS               0x0E
#define RV3028_REG_CONTROL1             0x0F
#define RV3028_REG_CONTROL2             0x10
#define RV3028_REG_TV0                  0x0A
#define RV3028_REG_TV1                  0x0B
#define RV3028_REG_TV1_MASK             GENMASK(3, 0)
#define RV3028_REG_TS0                  0x0C
#define RV3028_REG_TS1                  0x0D
#define RV3028_REG_TS1_MASK             GENMASK(3, 0)

#define RV3028_CONTROL1_TD              GENMASK(1, 0)
#define RV3028_CONTROL1_TE              BIT(2)
#define RV3028_CONTROL1_TRPT            BIT(7)
#define RV3028_CONTROL2_TIE             BIT(4)
#define RV3028_STATUS_TF                BIT(3)

int rv3028_init_minimal(const struct device *dev)
{
    LOG_DBG("RV3028 MINIMAL INIT");
	const struct rv3028_config *config = dev->config;
	struct rv3028_data *data = dev->data;
	uint8_t val;
	int err;

	k_sem_init(&data->lock, 1, 1);

	if (!i2c_is_ready_dt(&config->i2c)) {
		LOG_ERR("I2C bus not ready");
		return -ENODEV;
	}

	err = i2c_reg_read_byte_dt(&config->i2c, RV3028_REG_ID, &val);
	if (err) {
		return -ENODEV;
	}

	LOG_DBG("HID: 0x%02x, VID: 0x%02x", (val & 0xF0) >> 0x04, val & 0x0F);

	return 0;
}


int rv3028_enable_periodic_interrupt(const struct device *dev, uint8_t freq, uint16_t period) {

    if (freq > 3 || period > 0xFFF) {
        return -EINVAL;
    }

    const struct rv3028_config *config = dev->config;
    int err = 0;
    rv3028_lock_sem(dev);

    err = i2c_reg_update_byte_dt(&config->i2c, RV3028_REG_CONTROL1, RV3028_CONTROL1_TE, 0);
	if (err) {
		LOG_ERR("failed to clear RV3028_CONTROL1_TE: %d", err);
		goto done;
	}


    err = i2c_reg_update_byte_dt(&config->i2c, RV3028_REG_CONTROL2, RV3028_CONTROL2_TIE, 0);
	if (err) {
		LOG_ERR("failed to clear RV3028_CONTROL2_TIE: %d", err);
		goto done;
	}


    err = i2c_reg_update_byte_dt(&config->i2c, RV3028_REG_STATUS, RV3028_STATUS_TF, 0);
	if (err) {
		LOG_ERR("failed to clear RV3028_STATUS_TF: %d", err);
		goto done;
	}

    err = i2c_reg_update_byte_dt(&config->i2c, RV3028_REG_CONTROL1, RV3028_CONTROL1_TRPT, RV3028_CONTROL1_TRPT);
	if (err) {
		LOG_ERR("failed to set RV3028_CONTROL1_TRPT: %d", err);
		goto done;
	}

    // 0b11 =  1/60Hz
    err = i2c_reg_update_byte_dt(&config->i2c, RV3028_REG_CONTROL1, RV3028_CONTROL1_TD, freq);
	if (err) {
		LOG_ERR("failed to set RV3028_CONTROL1_TD: %d", err);
		goto done;
	}

    err = i2c_reg_update_byte_dt(&config->i2c, RV3028_REG_TV0, 0xFF, period & 0xFF);
	if (err) {
		LOG_ERR("failed to set RV3028_REG_TV0: %d", err);
		goto done;
	}

    err = i2c_reg_update_byte_dt(&config->i2c, RV3028_REG_TV1, RV3028_REG_TV1_MASK, period >> 8);
	if (err) {
		LOG_ERR("failed to set RV3028_REG_TV1: %d", err);
		goto done;
	}

    err = i2c_reg_update_byte_dt(&config->i2c, RV3028_REG_CONTROL2, RV3028_CONTROL2_TIE, RV3028_CONTROL2_TIE);
	if (err) {
		LOG_ERR("failed to set RV3028_CONTROL2_TIE: %d", err);
		goto done;
	}

    err = i2c_reg_update_byte_dt(&config->i2c, RV3028_REG_CONTROL1, RV3028_CONTROL1_TE, RV3028_CONTROL1_TE);
	if (err) {
		LOG_ERR("failed to set RV3028_CONTROL1_TE: %d", err);
	}

done:
    rv3028_unlock_sem(dev);
    return err;
}

int rv3028_get_tf(const struct device *dev, bool *tf) {
    const struct rv3028_config *config = dev->config;
    int err = 0;
	uint8_t val;


    rv3028_lock_sem(dev);
    err = i2c_reg_read_byte_dt(&config->i2c, RV3028_REG_STATUS, &val);
    rv3028_unlock_sem(dev);

	if (err) {
		LOG_ERR("failed to clear RV3028_STATUS_TF: %d", err);
		return err;
	} else {
        *tf = val & RV3028_STATUS_TF;
    }

    return 0;
}

int rv3028_clear_tf(const struct device *dev) {
    const struct rv3028_config *config = dev->config;
    int err = 0;

    rv3028_lock_sem(dev);
    err = i2c_reg_update_byte_dt(&config->i2c, RV3028_REG_STATUS, RV3028_STATUS_TF, 0);
    rv3028_unlock_sem(dev);

	if (err) {
		LOG_ERR("failed to clear RV3028_STATUS_TF: %d", err);
		return err;
	}

    return 0;
}


int rv3028_get_timer_status(const struct device *dev, uint16_t *timer_status)
{
    const struct rv3028_config *config = dev->config;
    uint8_t buf[2];
    int err;

    rv3028_lock_sem(dev);
    err = i2c_burst_read_dt(&config->i2c, RV3028_REG_TS0, buf, sizeof(buf));
    rv3028_unlock_sem(dev);

    if (err) {
        LOG_ERR("failed to read timer status: %d", err);
        return err;
    }

    *timer_status = buf[0] | ((uint16_t)(buf[1] & RV3028_REG_TS1_MASK) << 8);

    return 0;
}
```

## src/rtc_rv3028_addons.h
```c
/**
 * @warning
 * This add-on library depends on the internal implementation details of the
 * Zephyr RV3028 RTC driver (`drivers/rtc/rtc_rv3028.c`).
 *
 * Compatibility is verified only for Zephyr versions 3.7 through 4.4.
 * Compatibility with other Zephyr versions is not guaranteed.
 *
 * In particular, this library assumes that `struct rv3028_data` begins with:
 *
 * @code
 * struct k_sem lock;
 * @endcode
 *
 * If the layout of `struct rv3028_data` changes, this library may exhibit
 * undefined behavior or fail at runtime.
 *
 * Before using with a different Zephyr version, verify the structure layout
 * in:
 *
 * @code
 * drivers/rtc/rtc_rv3028.c
 * @endcode
 */

#pragma once

#include <stdint.h>
#include <stdbool.h>

struct device;

/**
 * @brief Timer frequency selection: 4096 Hz.
 */
#define RV3028_TIMER_FREQ_4096HZ 0

/**
 * @brief Timer frequency selection: 64 Hz.
 */
#define RV3028_TIMER_FREQ_64HZ 1

/**
 * @brief Timer frequency selection: 1 Hz.
 */
#define RV3028_TIMER_FREQ_1HZ 2

/**
 * @brief Timer frequency selection: 1 minute.
 */
#define RV3028_TIMER_FREQ_MINUTE 3

/**
 * @brief Perform minimal initialization of the RV3028 device.
 *
 * Performs minimal driver initialization.
 *
 * Intended for cases where the RTC is already configured, such as after
 * waking from a System OFF state.
 *
 * This avoids the full setup sequence, which may unintentionally align the
 * timer state to a second boundary.
 *
 * @param dev Pointer to the device instance.
 *
 * @retval 0 Success.
 * @retval Negative error code on failure.
 */
int rv3028_init_minimal(const struct device *dev);

/**
 * @brief Enable the periodic timer interrupt.
 *
 * Configures and enables the periodic interrupt timer.
 *
 * The @p freq parameter selects the timer resolution using one of the
 * `RV3028_TIMER_FREQ_*` constants. The @p period value is a 12-bit value
 * interpreted in the selected frequency domain.
 *
 * @param dev Pointer to the device instance.
 * @param freq Timer frequency selection.
 * @param period Timer period value (12-bit).
 *
 * @retval 0 Success.
 * @retval Negative error code on failure.
 */
int rv3028_enable_periodic_interrupt(
    const struct device *dev,
    uint8_t freq,
    uint16_t period);

/**
 * @brief Read the timer flag (TF) status.
 *
 * Retrieves the current state of the TF flag.
 *
 * @param dev Pointer to the device instance.
 * @param tf Pointer to storage for the TF flag value.
 *
 * @retval 0 Success.
 * @retval Negative error code on failure.
 */
int rv3028_get_tf(const struct device *dev, bool *tf);

/**
 * @brief Clear the timer flag (TF).
 *
 * Clears the TF status flag in the device.
 *
 * @param dev Pointer to the device instance.
 *
 * @retval 0 Success.
 * @retval Negative error code on failure.
 */
int rv3028_clear_tf(const struct device *dev);


/**
 * @brief Read the RV3028 timer status value.
 *
 * Reads the timer status registers TS0 and TS1 and returns the combined
 * timer status value.
 *
 * @param dev Pointer to the device instance.
 * @param timer_status Pointer to storage for the timer status value.
 *
 * @retval 0 Success.
 * @retval Negative error code on failure.
 */
int rv3028_get_timer_status(const struct device *dev, uint16_t *timer_status);
```
